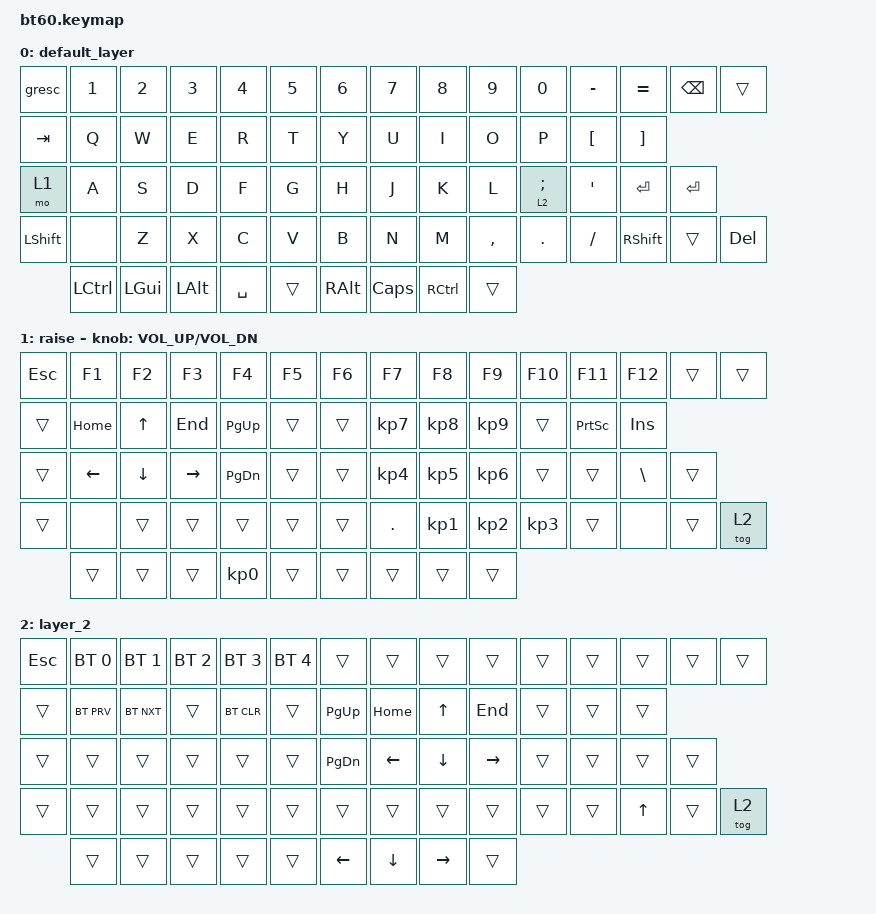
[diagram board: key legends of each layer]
#include <behaviors.dtsi>
#include <dt-bindings/zmk/bt.h>
#include <dt-bindings/zmk/keys.h>

/ {
    combos {
        compatible = "zmk,combos";

        Bootloader {
            bindings = <&bootloader>;
            key-positions = <0 13>;
        };

        Capslock {
            bindings = <&kp CAPSLOCK>;
            key-positions = <28 41>;
        };

        keyboard_reset {
            bindings = <&sys_reset>;
            key-positions = <0 41 13>;
        };
    };

    keymap {
        compatible = "zmk,keymap";

        default_layer {
            // ------------------------------------------------------------------------------------------
            // | GRESC |  1  |  2  |  3  |  4  |  5  |  6  |  7  |  8  |  9  |  0  |  -  |  =  |  BKSP | DEL  |
            // | TAB  |  Q  |  W  |  E  |  R  |  T  |  Y  |  U  |  I  |  O  |  P  |  [  |  ]  |
            // | CAPS  |  A  |  S  |  D  |  F  |  G  |  H  |  J  |  K  |  L  |  ;  |  '  |   |   | ISO  ENTER |
            // |  SHIFT|NONE|  Z  |  X  |  C  |  V  |  B  |  N  |  M  |  ,  |  .  |SHFT|SHFT| UP |    1  |
            // |  CTL  |  WIN  |  ALT  |            SPACE              | ALT | CTRL | LEFT | DOWN | RIGHT |
            // ------------------------------------------------------------------------------------------

            bindings = <
&gresc     &kp N1     &kp N2    &kp N3    &kp N4     &kp N5  &kp N6    &kp N7        &kp N8             &kp N9     &kp N0      &kp MINUS  &kp EQUAL  &kp BSPC  &trans
&kp TAB    &kp Q      &kp W     &kp E     &kp R      &kp T   &kp Y     &kp U         &kp I              &kp O      &kp P       &kp LBKT   &kp RBKT
&mo 1      &kp A      &kp S     &kp D     &kp F      &kp G   &kp H     &kp J         &kp K              &kp L      &lt 2 SEMI  &kp SQT    &kp RET    &kp RET
&kp LSHFT  &none      &kp Z     &kp X     &kp C      &kp V   &kp B     &kp N         &kp M              &kp COMMA  &kp DOT     &kp SLASH  &kp RSHFT  &trans    &kp DELETE
           &kp LCTRL  &kp LGUI  &kp LALT  &kp SPACE  &trans  &kp RALT  &kp CAPSLOCK  &kp RIGHT_CONTROL  &trans
            >;
        };

        raise {
            bindings = <
&kp ESC  &kp F1    &kp F2    &kp F3     &kp F4           &kp F5  &kp F6  &kp F7           &kp F8           &kp F9           &kp F10          &kp F11          &kp F12     &trans  &trans
&trans   &kp HOME  &kp UP    &kp END    &kp PAGE_UP      &trans  &trans  &kp KP_NUMBER_7  &kp KP_NUMBER_8  &kp KP_NUMBER_9  &trans           &kp PRINTSCREEN  &kp INSERT
&trans   &kp LEFT  &kp DOWN  &kp RIGHT  &kp PAGE_DOWN    &trans  &trans  &kp KP_NUMBER_4  &kp KP_NUMBER_5  &kp KP_NUMBER_6  &trans           &trans           &kp BSLH    &trans
&trans   &none     &trans    &trans     &trans           &trans  &trans  &kp PERIOD       &kp KP_NUMBER_1  &kp KP_NUMBER_2  &kp KP_NUMBER_3  &trans           &none       &trans  &tog 2
         &trans    &trans    &trans     &kp KP_NUMBER_0  &trans  &trans  &trans           &trans           &trans
            >;

            sensor-bindings = <        &inc_dec_kp C_VOL_UP C_VOL_DN>;
        };

        layer_2 {
            bindings = <
&kp ESC  &bt BT_SEL 0  &bt BT_SEL 1  &bt BT_SEL 2  &bt BT_SEL 3  &bt BT_SEL 4  &trans          &trans          &trans           &trans     &trans  &trans  &trans        &trans  &trans
&trans   &bt BT_PRV    &bt BT_NXT    &trans        &bt BT_CLR    &trans        &kp PAGE_UP     &kp HOME        &kp UP           &kp END    &trans  &trans  &trans
&trans   &trans        &trans        &trans        &trans        &trans        &kp PAGE_DOWN   &kp LEFT        &kp DOWN         &kp RIGHT  &trans  &trans  &trans        &trans
&trans   &trans        &trans        &trans        &trans        &trans        &trans          &trans          &trans           &trans     &trans  &trans  &kp UP_ARROW  &trans  &tog 2
         &trans        &trans        &trans        &trans        &trans        &kp LEFT_ARROW  &kp DOWN_ARROW  &kp RIGHT_ARROW  &trans
            >;
        };
    };
};
